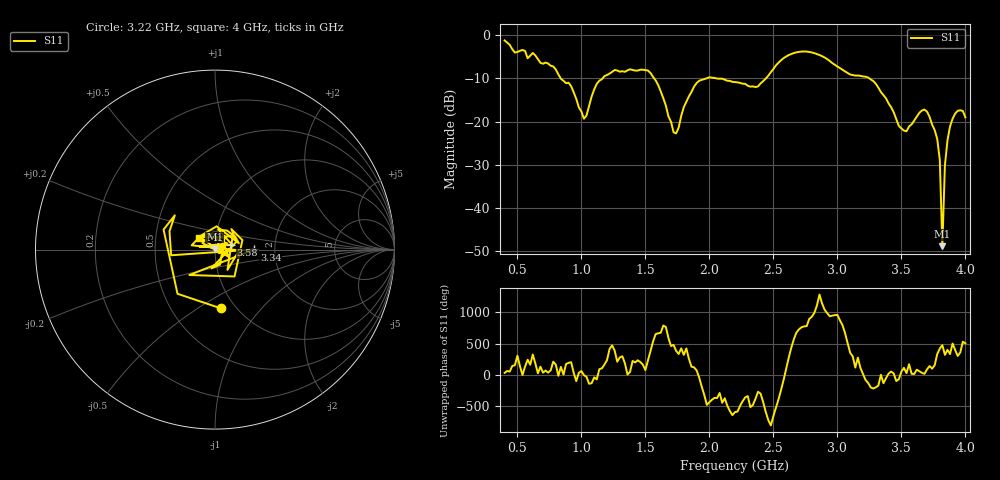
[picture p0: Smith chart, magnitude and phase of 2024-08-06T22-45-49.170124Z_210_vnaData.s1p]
!Created with skrf (http://scikit-rf.org).
# Hz S RI R 50.0
!freq ReS11 ImS11
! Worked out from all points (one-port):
!   181 points, 400 MHz to 4 GHz, reference 50 ohm
!   lowest |S11| = -48.9 dB at 3.82 GHz (marker M1), VSWR 1.01, Z = 49.8 + j0.325 ohm
!   |S11| at or under -10 dB: 1.568 GHz to 1.979 GHz (411.2 MHz wide, 23.2 % of centre); 2.052 GHz to 2.442 GHz (390.8 MHz wide, 17.4 % of centre); 3.249 GHz to end of sweep (the widest 3 of 4)
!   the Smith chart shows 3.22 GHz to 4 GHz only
!   S11 on the Smith chart (normalised r, x): 3.22 GHz: 0.86, -0.63; 3.34 GHz: 1.56, +0.00; 3.58 GHz: 1.19, +0.06; 4 GHz: 0.83, +0.11
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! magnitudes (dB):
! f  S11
! 400 MHz  -1.2
! 860 MHz  -10.6
! 920 MHz  -11.8
! 1.02 GHz  -19.4
! 1.12 GHz  -11.3
! 1.3 GHz  -8.5
! 1.52 GHz  -8.2
! 1.6 GHz  -11.6
! 1.72 GHz  -22.5
! 1.76 GHz  -21.4
! 1.92 GHz  -10.6
! 2.2 GHz  -10.9
! 2.38 GHz  -11.9
! 2.66 GHz  -4.2
! 3.1 GHz  -9.1
! 3.22 GHz  -9.6
! 3.34 GHz  -13.2
! 3.48 GHz  -21.0
! 3.56 GHz  -21.2
! 3.58 GHz  -20.7
! 3.68 GHz  -17.2
! 3.78 GHz  -24.1
! 3.8 GHz  -28.9
! 3.82 GHz  -48.9
! 3.84 GHz  -30.1
! 3.86 GHz  -24.4
! 3.92 GHz  -18.2
! 4 GHz  -19.0
